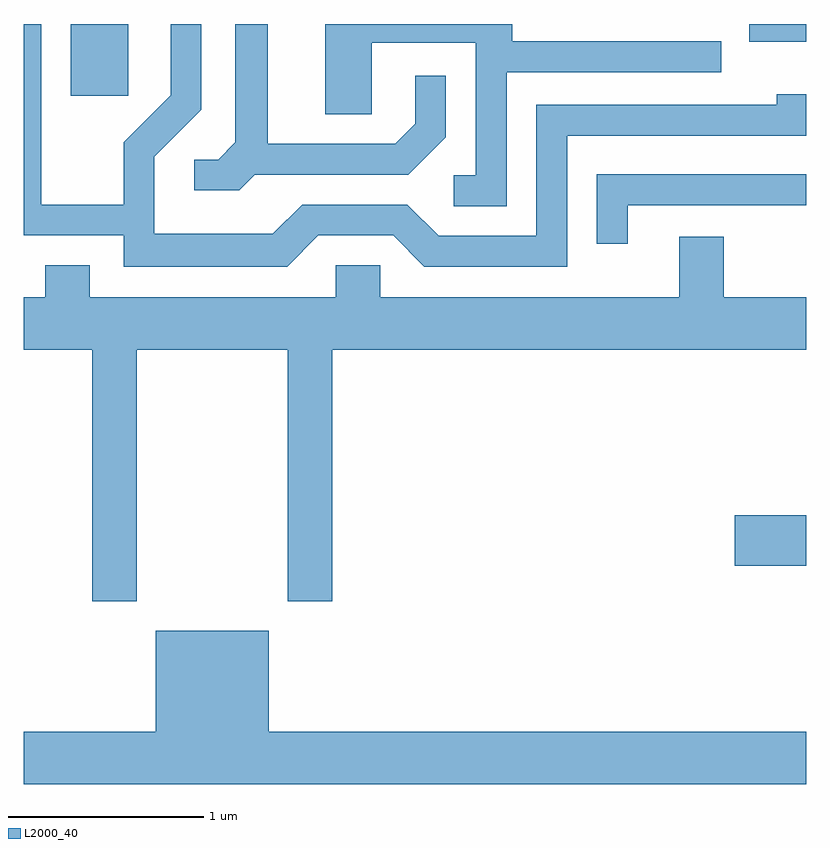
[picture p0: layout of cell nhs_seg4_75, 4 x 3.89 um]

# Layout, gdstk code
import gdstk
lib = gdstk.Library(unit=1e-6, precision=1e-09)
def R(c, l, rs):  # rectangles x0, y0, x1, y1
    for r in rs: c.add(gdstk.rectangle(r[:2], r[2:], *l))
def P(c, l, *ps):  # polygons
    for p in ps: c.add(gdstk.Polygon(p, *l))
L2000_40 = (2000, 40)

nhs_seg4_75 = lib.new_cell('nhs_seg4_75')
R(nhs_seg4_75, L2000_40, [(191.246,1269.211,191.611,1269.469), (187.851,1271.616,188.144,1271.982), (191.321,1271.891,191.611,1271.982)])
P(nhs_seg4_75, L2000_40, [(188.792,1271.211),(189.577,1271.211),(189.769,1271.404),(189.769,1271.718),(189.611,1271.718),(189.611,1271.472),(189.509,1271.369),(188.859,1271.369),(188.859,1271.982),(188.691,1271.982),(188.691,1271.377),(188.604,1271.289),(188.483,1271.289),(188.483,1271.131),(188.712,1271.131)],
  [(190.079,1271.736),(191.178,1271.736),(191.178,1271.894),(190.109,1271.894),(190.109,1271.982),(189.151,1271.982),(189.151,1271.521),(189.389,1271.521),(189.389,1271.886),(189.921,1271.886),(189.921,1271.209),(189.808,1271.209),(189.808,1271.051),(190.079,1271.051)],
  [(189.117,1270.901),(189.499,1270.901),(189.659,1270.741),(190.389,1270.741),(190.389,1271.411),(191.611,1271.411),(191.611,1271.624),(191.461,1271.624),(191.461,1271.569),(190.231,1271.569),(190.231,1270.899),(189.732,1270.899),(189.572,1271.059),(189.034,1271.059),(188.884,1270.909),(188.279,1270.909),(188.279,1271.304),(188.519,1271.544),(188.519,1271.982),(188.361,1271.982),(188.361,1271.617),(188.121,1271.377),(188.121,1271.059),(187.699,1271.059),(187.699,1271.982),(187.611,1271.982),(187.611,1270.901),(188.121,1270.901),(188.121,1270.741),(188.957,1270.741)],
  [(190.699,1271.056),(191.611,1271.056),(191.611,1271.214),(190.541,1271.214),(190.541,1270.858),(190.699,1270.858)],
  [(188.189,1270.316),(188.961,1270.316),(188.961,1269.031),(189.189,1269.031),(189.189,1270.316),(191.611,1270.316),(191.611,1270.584),(191.189,1270.584),(191.189,1270.894),(190.961,1270.894),(190.961,1270.584),(189.434,1270.584),(189.434,1270.749),(189.206,1270.749),(189.206,1270.584),(187.949,1270.584),(187.949,1270.749),(187.721,1270.749),(187.721,1270.584),(187.611,1270.584),(187.611,1270.316),(187.961,1270.316),(187.961,1269.031),(188.189,1269.031)],
  [(191.611,1268.364),(188.864,1268.364),(188.864,1268.879),(188.286,1268.879),(188.286,1268.364),(187.611,1268.364),(187.611,1268.096),(191.611,1268.096)])

lib.write_gds('nhs_seg4_75.gds')
